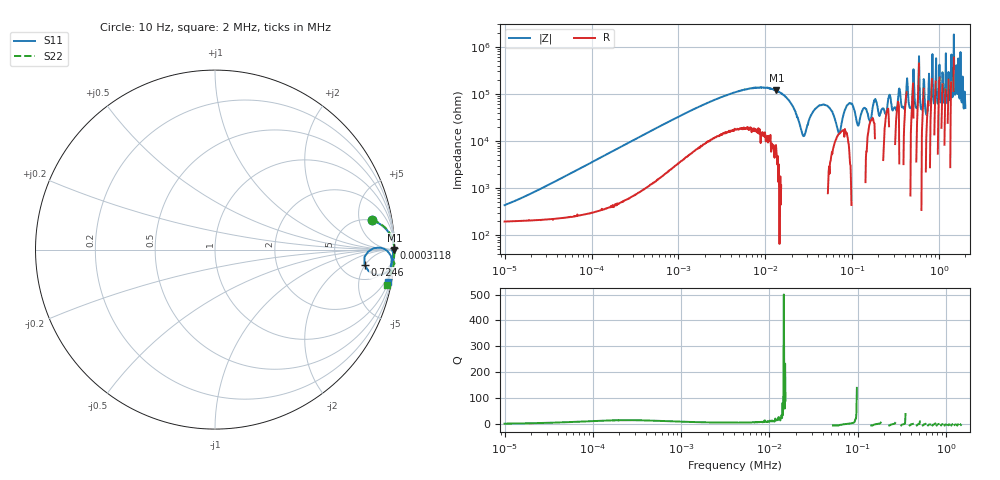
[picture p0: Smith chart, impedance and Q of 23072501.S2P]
!Agilent Technologies,E5061B,MY49204007,A.02.12
!Date: Wed Jul 23 10:42:21 2025
!Data & Calibration Information:
!Freq	S11:SOLT2(ON)	S21:SOLT2(ON)	S12:SOLT2(ON)	S22:SOLT2(ON)
# Hz S dB R 50
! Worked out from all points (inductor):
!   1040 points, 10 Hz to 2 MHz, reference 50 ohm
!   read as one part in series: L = 5.83 H near 16.39 Hz
!   highest Q = 27.8 at 13.41 kHz (marker M1), where L = 1.41 H
!   self-resonance near 27.44 kHz
!   S11 on the Smith chart (normalised r, x): 10 Hz: 4.92, +7.74; 311.8 Hz: open; 724.6 kHz: 8.52, -4.86; 2 MHz: 1, -11
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10  -1.01 10.5  -13.75 -52.8  -13.74 -52.7  -1.00 10.7
77.209  -0.04 2.1  -28.77 -82.3  -28.77 -82.2  -0.03 2.2
311.844  -0.01 0.5  -40.59 -85.6  -40.59 -85.5  0.00 0.7
588.818  -0.01 0.3  -45.95 -85.1  -45.94 -85.0  0.00 0.4
4498.482  -0.01 -0.0  -60.68 -80.6  -60.74 -80.3  0.01 0.2
13407.44  -0.00 -0.1  -61.51 -87.2  -61.52 -88.0  0.01 0.1
19992.34  -0.01 -0.3  -55.62 -97.5  -55.72 -97.7  0.01 -0.0
27437.68  -0.11 -0.3  -42.14 -176.4  -42.14 -176.4  -0.04 -0.1
34305.13  -0.01 -0.1  -51.60 107.7  -51.70 107.5  0.00 0.0
51175.84  -0.01 -0.4  -55.02 90.8  -54.94 90.1  0.01 -0.2
70278.15  -0.09 -0.5  -43.20 9.4  -43.20 9.5  -0.03 -0.3
91012.27  -0.01 -0.6  -55.90 -82.6  -56.07 -83.0  0.00 -0.4
117103.5  -0.08 -0.7  -46.53 172.8  -46.54 172.8  -0.02 -0.5
135646.6  -0.02 -0.9  -53.89 95.5  -53.94 98.2  -0.00 -0.6
158692.4  -0.06 -1.1  -48.48 25.2  -48.67 25.5  -0.01 -0.8
182035  -0.02 -1.2  -56.83 -81.5  -57.41 -86.0  -0.01 -0.9
261946.5  -0.02 -1.7  -58.45 -67.2  -58.76 -66.2  -0.01 -1.3
724608.9  -1.54 -5.8  -52.28 30.6  -51.89 32.4  0.02 -4.3
793481.8  -0.30 -0.8  -56.08 62.3  -56.26 59.8  -0.01 -4.7
1280443  -0.13 -6.2  -69.44 39.8  -71.50 17.5  -0.07 -7.4
1554576  -0.16 -7.8  -66.14 64.1  -67.74 78.5  -0.12 -9.0
2000000  -0.17 -10.7  -54.29 -123.8  -53.32 -127.6  -0.20 -11.7
